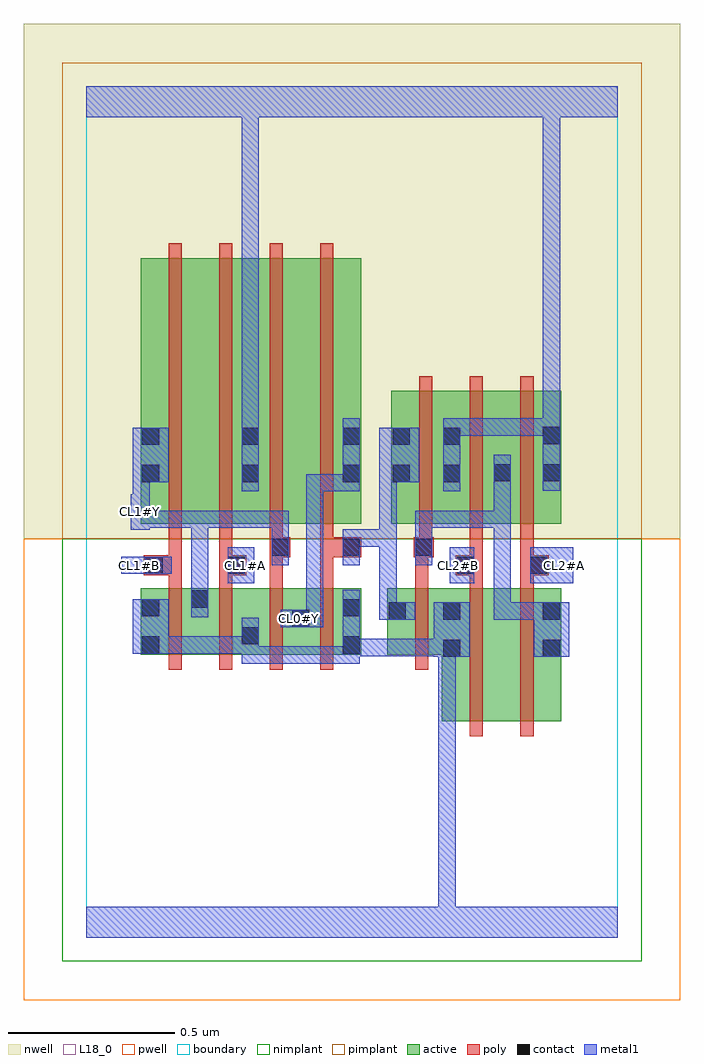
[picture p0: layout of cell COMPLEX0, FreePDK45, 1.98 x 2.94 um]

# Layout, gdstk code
import gdstk
lib = gdstk.Library(unit=1e-6, precision=1e-09)
def R(c, l, rs):  # rectangles x0, y0, x1, y1
    for r in rs: c.add(gdstk.rectangle(r[:2], r[2:], *l))
def A(c, l, x, y, w, h, nx, ny, dx, dy):  # array of equal rectangles
    R(c, l, [(x+i*dx, y+j*dy, x+i*dx+w, y+j*dy+h) for i in range(nx) for j in range(ny)])
active = (1, 0)
pwell = (2, 0)
nwell = (3, 0)
nimplant = (4, 0)
pimplant = (5, 0)
poly = (9, 0)
contact = (10, 0)
metal1 = (11, 0)
L18_0 = (18, 0)
boundary = (235, 0)

complex0 = lib.new_cell('COMPLEX0')
A(complex0, active, 0.312, 0.85, 0.212, 0.2, 3, 1, 0.152, 0)
A(complex0, active, 0.464, 0.85, 0.06, 0.2, 3, 1, 0.152, 0)
A(complex0, active, 0.918, 1.244, 0.06, 0.4, 3, 1, 0.152, 0)
R(complex0, active, [(1.07,0.65,1.25,1.05), (1.25,0.65,1.43,1.05), (1.37,0.756,1.43,1.05), (1.07,0.84,1.13,1.012), (0.164,0.85,0.224,1.05), (0.164,0.85,0.372,1.05), (0.312,0.85,0.372,1.048), (0.906,0.85,1.13,1.05), (0.906,0.952,0.966,1.05), (0.164,1.244,0.224,2.044), (0.164,1.244,0.344,2.044), (0.344,1.244,0.524,2.044), (0.464,1.244,0.648,2.044), (0.648,1.244,0.828,2.044), (0.768,1.244,0.828,2.044), (0.918,1.244,1.13,1.644), (1.07,1.244,1.282,1.644), (1.222,1.244,1.43,1.644), (1.37,1.244,1.43,1.644), (0.464,1.366,0.524,2.044)])
R(complex0, pwell, [(-0.188,-0.188,1.788,1.2)])
R(complex0, nwell, [(-0.188,1.2,1.788,2.748)])
R(complex0, nimplant, [(-0.072,-0.072,1.672,1.2)])
R(complex0, pimplant, [(-0.072,1.2,1.672,2.632)])
A(complex0, poly, 0.248, 0.806, 0.04, 0.288, 4, 1, 0.152, 0)
A(complex0, poly, 0.248, 1.2, 0.04, 0.888, 4, 1, 0.152, 0)
A(complex0, poly, 1.002, 1.2, 0.04, 0.488, 3, 1, 0.152, 0)
R(complex0, poly, [(1.154,0.606,1.194,1.094), (1.306,0.606,1.346,1.094), (0.99,0.806,1.03,1.094), (0.248,1.054,0.288,1.13), (0.4,1.054,0.44,1.13), (0.552,1.054,0.592,1.184), (0.704,1.054,0.744,1.184), (0.99,1.054,1.03,1.184), (1.154,1.054,1.194,1.13), (1.306,1.054,1.346,1.13), (0.174,1.09,0.288,1.15), (0.4,1.09,0.482,1.15), (1.112,1.09,1.194,1.15), (1.306,1.09,1.346,1.13), (1.306,1.09,1.346,1.13), (1.306,1.09,1.392,1.15), (0.248,1.11,0.288,1.24), (0.248,1.11,0.288,1.15), (0.248,1.11,0.288,1.15), (0.4,1.11,0.44,1.24), (0.4,1.11,0.44,1.15), (0.4,1.11,0.44,1.15), (1.154,1.11,1.194,1.24), (1.154,1.11,1.194,1.15), (1.154,1.11,1.194,1.15), (1.306,1.11,1.346,1.24), (0.552,1.144,0.592,1.184), (0.552,1.144,0.592,1.184), (0.552,1.144,0.614,1.204), (0.704,1.144,0.828,1.204), (0.986,1.144,1.046,1.204), (0.99,1.144,1.03,1.184), (0.99,1.144,1.03,1.184), (0.552,1.164,0.592,1.24), (0.704,1.164,0.744,1.204), (0.704,1.164,0.744,1.204), (0.704,1.164,0.744,1.24), (1.002,1.164,1.042,1.24)])
R(complex0, contact, [(1.074,0.844,1.126,0.896), (1.374,0.844,1.426,0.896), (0.168,0.854,0.22,0.906), (0.772,0.854,0.824,0.906), (0.468,0.882,0.52,0.934), (0.62,0.934,0.672,0.986), (0.91,0.956,0.962,1.008), (1.074,0.956,1.126,1.008), (1.374,0.956,1.426,1.008), (0.168,0.966,0.22,1.018), (0.772,0.966,0.824,1.018), (0.316,0.992,0.368,1.044), (0.178,1.094,0.23,1.146), (0.426,1.094,0.478,1.146), (1.116,1.094,1.168,1.146), (1.336,1.094,1.388,1.146), (0.558,1.148,0.61,1.2), (0.772,1.148,0.824,1.2), (0.99,1.148,1.042,1.2), (0.168,1.37,0.22,1.422), (0.468,1.37,0.52,1.422), (0.772,1.37,0.824,1.422), (0.922,1.37,0.974,1.422), (1.074,1.37,1.126,1.422), (1.226,1.372,1.278,1.424), (1.374,1.372,1.426,1.424), (0.168,1.482,0.22,1.534), (0.468,1.482,0.52,1.534), (0.772,1.482,0.824,1.534), (0.922,1.482,0.974,1.534), (1.074,1.482,1.126,1.534), (1.374,1.484,1.426,1.536)])
R(complex0, metal1, [(0,0,1.6,0.092), (1.06,0.04,1.112,0.092), (1.06,0.04,1.112,0.092), (1.06,0.04,1.112,0.092), (1.06,0.04,1.112,0.092), (1.06,0.04,1.112,0.092), (1.06,0.04,1.112,0.092), (1.06,0.04,1.112,0.092), (1.06,0.04,1.112,0.092), (1.06,0.04,1.112,0.092), (1.06,0.04,1.112,0.092), (1.06,0.04,1.112,0.896), (0.468,0.824,0.714,0.876), (0.468,0.824,0.52,0.906), (0.662,0.824,0.714,0.876), (0.662,0.824,0.824,0.876), (0.772,0.824,0.824,0.878), (0.772,0.826,0.824,0.878), (0.772,0.826,0.824,1.046), (1.046,0.844,1.154,1.008), (1.06,0.844,1.112,0.896), (1.06,0.844,1.112,0.896), (1.346,0.844,1.454,1.008), (0.772,0.846,0.934,0.898), (0.882,0.846,0.934,0.898), (0.882,0.846,0.934,0.898), (0.882,0.846,0.934,0.898), (0.882,0.846,0.934,0.898), (0.882,0.846,0.934,0.898), (0.882,0.846,0.934,0.898), (0.882,0.846,0.934,0.898), (0.882,0.846,1.098,0.898), (0.14,0.854,0.248,1.018), (0.196,0.854,0.248,0.906), (0.196,0.854,0.248,0.906), (0.196,0.854,0.368,0.906), (0.316,0.854,0.368,0.906), (0.316,0.854,0.368,0.906), (0.316,0.854,0.368,0.906), (0.316,0.854,0.52,0.906), (0.468,0.854,0.52,0.906), (0.468,0.854,0.52,0.962), (0.586,0.934,0.714,0.986), (0.592,0.934,0.7,0.986), (0.648,0.934,0.7,0.986), (0.662,0.934,0.714,1.394), (0.882,0.956,0.934,1.228), (0.882,0.956,0.99,1.008), (1.226,0.956,1.278,1.008), (1.226,0.956,1.398,1.008), (1.226,0.956,1.278,1.284), (1.346,0.956,1.398,1.008), (1.346,0.956,1.398,1.008), (1.346,0.956,1.398,1.008), (1.346,0.956,1.398,1.008), (0.316,0.964,0.368,1.072), (0.316,1.02,0.368,1.284), (0.426,1.066,0.506,1.174), (1.094,1.066,1.168,1.174), (1.336,1.066,1.466,1.174), (0.106,1.094,0.258,1.146), (0.558,1.12,0.61,1.284), (0.772,1.12,0.824,1.228), (0.99,1.12,1.042,1.228), (0.772,1.176,0.824,1.228), (0.772,1.176,0.824,1.228), (0.772,1.176,0.934,1.228), (0.882,1.176,0.934,1.228), (0.882,1.176,0.934,1.422), (0.99,1.176,1.042,1.228), (0.99,1.176,1.042,1.284), (0.134,1.226,0.192,1.334), (0.14,1.232,0.192,1.284), (0.14,1.232,0.192,1.284), (0.14,1.232,0.368,1.284), (0.316,1.232,0.368,1.284), (0.316,1.232,0.368,1.284), (0.316,1.232,0.368,1.284), (0.316,1.232,0.368,1.284), (0.316,1.232,0.368,1.284), (0.316,1.232,0.478,1.284), (0.426,1.232,0.478,1.284), (0.426,1.232,0.61,1.284), (0.99,1.232,1.278,1.284), (1.226,1.232,1.278,1.284), (1.226,1.232,1.278,1.284), (1.226,1.232,1.278,1.284), (1.226,1.232,1.278,1.396), (0.14,1.282,0.192,1.422), (0.468,1.342,0.52,1.562), (0.662,1.342,0.714,1.394), (0.662,1.342,0.824,1.394), (0.772,1.342,0.824,1.394), (0.772,1.342,0.824,1.394), (0.772,1.342,0.824,1.394), (0.772,1.342,0.824,1.394), (0.772,1.342,0.824,1.562), (1.074,1.342,1.126,1.562), (1.226,1.344,1.278,1.452), (1.374,1.344,1.426,1.564), (0.14,1.37,0.248,1.534), (0.882,1.37,0.934,1.422), (0.882,1.37,0.934,1.422), (0.882,1.37,1.002,1.534), (0.468,1.51,0.52,1.562), (0.468,1.51,0.52,1.562), (0.468,1.51,0.52,2.52), (1.074,1.51,1.264,1.562), (1.212,1.51,1.264,1.562), (1.212,1.51,1.264,1.562), (1.212,1.51,1.264,1.562), (1.212,1.51,1.426,1.562), (1.374,1.51,1.426,1.562), (1.374,1.51,1.426,1.562), (1.374,1.512,1.426,1.564), (1.374,1.512,1.426,1.564), (1.374,1.512,1.426,1.564), (1.374,1.512,1.426,1.564), (1.374,1.512,1.426,1.564), (1.374,1.512,1.426,1.564), (1.374,1.512,1.426,1.564), (1.374,1.512,1.426,1.564), (1.374,1.512,1.426,1.564), (1.374,1.512,1.426,1.564), (1.374,1.512,1.426,2.52), (0,2.468,1.6,2.56), (0.468,2.468,0.52,2.52), (0.468,2.468,0.52,2.52), (0.468,2.468,0.52,2.52), (0.468,2.468,0.52,2.52), (0.468,2.468,0.52,2.52), (0.468,2.468,0.52,2.52), (1.374,2.468,1.426,2.52), (1.374,2.468,1.426,2.52), (1.374,2.468,1.426,2.52), (1.374,2.468,1.426,2.52), (1.374,2.468,1.426,2.52), (1.374,2.468,1.426,2.52)])
R(complex0, L18_0, [(0,0,1.6,0.092), (1.06,0.04,1.112,0.092), (1.06,0.04,1.112,0.092), (1.06,0.04,1.112,0.092), (1.06,0.04,1.112,0.092), (1.06,0.04,1.112,0.092), (1.06,0.04,1.112,0.092), (1.06,0.04,1.112,0.092), (1.06,0.04,1.112,0.092), (1.06,0.04,1.112,0.092), (1.06,0.04,1.112,0.092), (1.06,0.04,1.112,0.896), (0.468,0.824,0.52,0.906), (0.468,0.824,0.714,0.876), (0.662,0.824,0.714,0.876), (0.662,0.824,0.824,0.876), (0.772,0.824,0.824,0.878), (0.772,0.826,0.824,0.878), (0.772,0.826,0.824,1.046), (1.046,0.844,1.154,1.008), (1.06,0.844,1.112,0.896), (1.06,0.844,1.112,0.896), (0.772,0.846,0.934,0.898), (0.882,0.846,0.934,0.898), (0.882,0.846,0.934,0.898), (0.882,0.846,0.934,0.898), (0.882,0.846,0.934,0.898), (0.882,0.846,0.934,0.898), (0.882,0.846,0.934,0.898), (0.882,0.846,0.934,0.898), (0.882,0.846,1.098,0.898), (0.14,0.854,0.248,1.018), (0.196,0.854,0.248,0.906), (0.196,0.854,0.248,0.906), (0.196,0.854,0.368,0.906), (0.316,0.854,0.368,0.906), (0.316,0.854,0.368,0.906), (0.316,0.854,0.368,0.906), (0.316,0.854,0.52,0.906), (0.468,0.854,0.52,0.906), (0.468,0.854,0.52,0.962), (0.586,0.934,0.714,0.986), (0.592,0.934,0.7,0.986), (0.614,0.934,0.666,0.986), (0.648,0.934,0.7,0.986), (0.662,0.934,0.714,1.394), (0.316,0.964,0.368,1.072), (0.316,1.02,0.368,1.284), (0.426,1.066,0.506,1.174), (1.094,1.066,1.168,1.174), (1.336,1.066,1.466,1.174), (0.106,1.094,0.258,1.146), (0.134,1.094,0.186,1.146), (0.454,1.094,0.506,1.146), (1.094,1.094,1.146,1.146), (1.414,1.094,1.466,1.146), (0.558,1.12,0.61,1.284), (0.134,1.226,0.192,1.334), (0.14,1.232,0.192,1.284), (0.14,1.232,0.192,1.284), (0.14,1.232,0.368,1.284), (0.316,1.232,0.368,1.284), (0.316,1.232,0.368,1.284), (0.316,1.232,0.368,1.284), (0.316,1.232,0.368,1.284), (0.316,1.232,0.368,1.284), (0.316,1.232,0.478,1.284), (0.426,1.232,0.478,1.284), (0.426,1.232,0.61,1.284), (0.134,1.254,0.186,1.306), (0.14,1.282,0.192,1.422), (0.468,1.342,0.52,1.562), (0.662,1.342,0.714,1.394), (0.662,1.342,0.824,1.394), (0.772,1.342,0.824,1.394), (0.772,1.342,0.824,1.394), (0.772,1.342,0.824,1.394), (0.772,1.342,0.824,1.394), (0.772,1.342,0.824,1.562), (1.074,1.342,1.126,1.562), (1.374,1.344,1.426,1.564), (0.14,1.37,0.248,1.534), (0.468,1.51,0.52,1.562), (0.468,1.51,0.52,1.562), (0.468,1.51,0.52,2.52), (1.074,1.51,1.264,1.562), (1.212,1.51,1.264,1.562), (1.212,1.51,1.264,1.562), (1.212,1.51,1.264,1.562), (1.212,1.51,1.426,1.562), (1.374,1.51,1.426,1.562), (1.374,1.51,1.426,1.562), (1.374,1.512,1.426,1.564), (1.374,1.512,1.426,1.564), (1.374,1.512,1.426,1.564), (1.374,1.512,1.426,1.564), (1.374,1.512,1.426,1.564), (1.374,1.512,1.426,1.564), (1.374,1.512,1.426,1.564), (1.374,1.512,1.426,1.564), (1.374,1.512,1.426,1.564), (1.374,1.512,1.426,1.564), (1.374,1.512,1.426,2.52), (0,2.468,1.6,2.56), (0.468,2.468,0.52,2.52), (0.468,2.468,0.52,2.52), (0.468,2.468,0.52,2.52), (0.468,2.468,0.52,2.52), (0.468,2.468,0.52,2.52), (0.468,2.468,0.52,2.52), (1.374,2.468,1.426,2.52), (1.374,2.468,1.426,2.52), (1.374,2.468,1.426,2.52), (1.374,2.468,1.426,2.52), (1.374,2.468,1.426,2.52), (1.374,2.468,1.426,2.52)])
R(complex0, boundary, [(0,0,1.6,2.56)])
complex0.add(gdstk.Label('CL0#Y', (0.64,0.96), layer=11, texttype=0))
complex0.add(gdstk.Label('CL1#A', (0.48,1.12), layer=11, texttype=0))
complex0.add(gdstk.Label('CL1#B', (0.16,1.12), layer=11, texttype=0))
complex0.add(gdstk.Label('CL1#Y', (0.16,1.28), layer=11, texttype=0))
complex0.add(gdstk.Label('CL2#A', (1.44,1.12), layer=11, texttype=0))
complex0.add(gdstk.Label('CL2#B', (1.12,1.12), layer=11, texttype=0))

lib.write_gds('COMPLEX0.gds')
